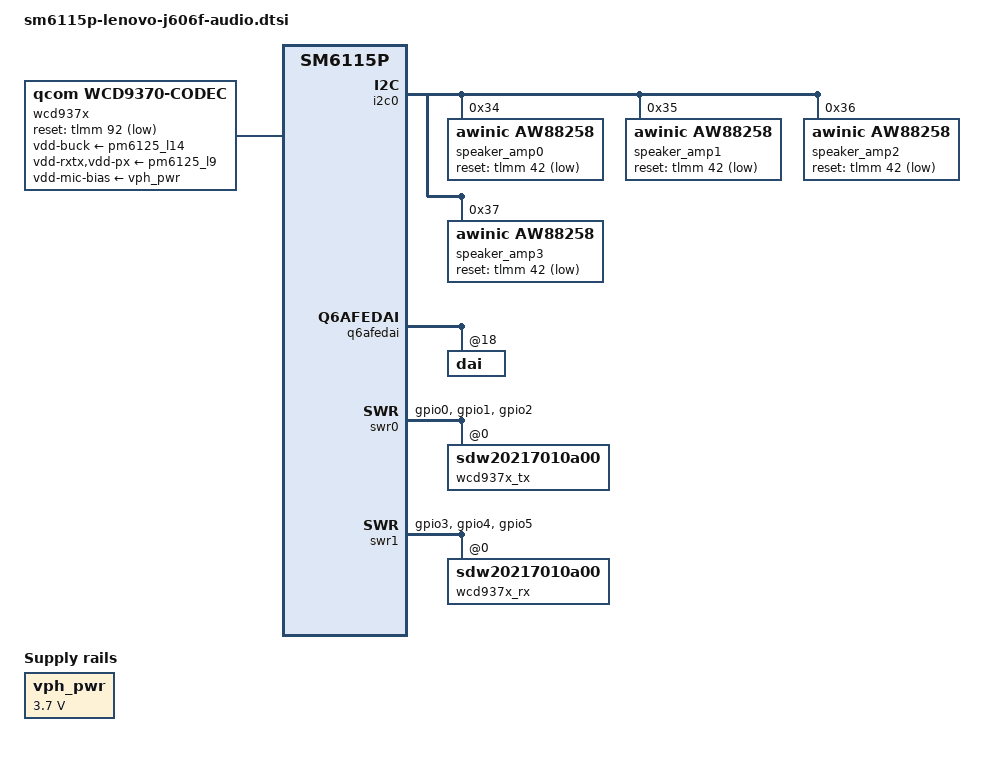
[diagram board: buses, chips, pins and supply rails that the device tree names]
// SPDX-License-Identifier: (GPL-2.0+ OR BSD-3-Clause)
/*
 * Lenovo Tab P11 (TB-J606F) audio. Headset path through the LPASS RX/TX macros, SoundWire and
 * the WCD937x codec, taken from the stock DT (bolero-cdc, wcd937x-codec, bengal-asoc-snd):
 * WCD937x reset on GPIO92, VDD_RXTX/VDD_PX from L9A and VDD_BUCK from L14A (1.8 V),
 * micbias 1.8 V, HPHL switch normally closed. On this tablet the WCD937x output goes to the
 * USB-C port through an FSA4480 switch (no 3.5 mm jack), which is not described yet.
 *
 * Speakers: four AW88258 amplifiers on I2C0 0x34-0x37 with one reset line (GPIO42), fed from
 * the primary TDM port on LPASS LPI GPIO6-9: four 32-bit slots at 48 kHz, DSP clock master,
 * short inverted frame sync (stock qcom,msm-dai-tdm-pri-rx). awinic,channel selects the
 * device section in the vendor aw882xx_acf.bin. Stereo is carried in slots 0/1; the profile
 * puts the top amplifiers on slots 2/3, so they are moved to 0/1 (awinic,rx-slot-mask), and
 * their profile channels are the wrong way round for this layout (awinic,rx-channel).
 * In landscape with the camera on top: 0x34 bottom left, 0x35 bottom right, 0x36 top right,
 * 0x37 top left (each amplifier played alone, 2026-10-31).
 */

#include <dt-bindings/gpio/gpio.h>
#include <dt-bindings/sound/qcom,q6afe.h>
#include <dt-bindings/sound/qcom,q6asm.h>

/ {
	vph_pwr: regulator-vph-pwr {
		compatible = "regulator-fixed";
		regulator-name = "vph_pwr";
		regulator-min-microvolt = <3700000>;
		regulator-max-microvolt = <3700000>;
		regulator-always-on;
		regulator-boot-on;
	};

	wcd937x: codec {
		compatible = "qcom,wcd9370-codec";
		pinctrl-0 = <&wcd_reset_n>;
		pinctrl-names = "default";
		reset-gpios = <&tlmm 92 GPIO_ACTIVE_LOW>;
		vdd-buck-supply = <&pm6125_l14>;
		vdd-rxtx-supply = <&pm6125_l9>;
		vdd-px-supply = <&pm6125_l9>;
		vdd-mic-bias-supply = <&vph_pwr>;
		qcom,micbias1-microvolt = <1800000>;
		qcom,micbias2-microvolt = <1800000>;
		qcom,micbias3-microvolt = <1800000>;
		qcom,micbias4-microvolt = <1800000>;
		qcom,hphl-jack-type-normally-closed;
		qcom,mbhc-buttons-vthreshold-microvolt = <75000 150000 237000 500000 500000 500000 500000 500000>;
		qcom,rx-device = <&wcd937x_rx>;
		qcom,tx-device = <&wcd937x_tx>;
		#sound-dai-cells = <1>;
	};

	sound {
		compatible = "qcom,qrb4210-rb2-sndcard";
		model = "Lenovo-TB-J606F";
		pinctrl-0 = <&lpass_tdm1_active>;
		pinctrl-names = "default";
		/* Пути со stock-роутинга (bolero/wcd937x, fragment@1 в dtbo):
		 * входы TX-макроса <- выходы АЦП кодека.
		 *
		 * Имена входов зависят от варианта макроса: у sm6115
		 * (lpass_ver_10_sm6115 -> tx_macro_dapm_widgets_v9_2) это
		 * TX SWR_INPUT0..7, у sm8250/sm8450 те же входы зовутся TX SWR_ADCn.
		 * С чужими именами карта не собирается: "ASoC: Failed to add route".
		 *
		 * ADC2_OUTPUT (встроенный микрофон, amic2) приходит на вход,
		 * который соответствует порту 2 TX-слейва. Какой именно вход
		 * макроса выбран, задаёт TX SMIC MUX0 (см. UCM Lenovo/TB-J606F).
		 */
		audio-routing = "IN1_HPHL", "HPHL_OUT",
				"IN2_HPHR", "HPHR_OUT",
				"AMIC1", "MIC BIAS1",
				"AMIC2", "MIC BIAS2",
				"AMIC3", "MIC BIAS3",
				"TX SWR_INPUT0", "ADC1_OUTPUT",
				"TX SWR_INPUT1", "ADC2_OUTPUT",
				"TX SWR_INPUT2", "ADC3_OUTPUT";

		mm1-dai-link {
			link-name = "MultiMedia1";

			cpu {
				sound-dai = <&q6asmdai MSM_FRONTEND_DAI_MULTIMEDIA1>;
			};
		};

		mm2-dai-link {
			link-name = "MultiMedia2";

			cpu {
				sound-dai = <&q6asmdai MSM_FRONTEND_DAI_MULTIMEDIA2>;
			};
		};

		mm3-dai-link {
			link-name = "MultiMedia3";

			cpu {
				sound-dai = <&q6asmdai MSM_FRONTEND_DAI_MULTIMEDIA3>;
			};
		};

		hph-dai-link {
			link-name = "Headphones Playback";

			codec {
				sound-dai = <&wcd937x 0>, <&swr1 0>, <&rxmacro 0>;
			};

			cpu {
				sound-dai = <&q6afedai RX_CODEC_DMA_RX_0>;
			};

			platform {
				sound-dai = <&q6routing>;
			};
		};

		speaker-dai-link {
			link-name = "Speaker Playback";

			codec {
				sound-dai = <&speaker_amp0>, <&speaker_amp1>,
					    <&speaker_amp2>, <&speaker_amp3>;
			};

			cpu {
				sound-dai = <&q6afedai PRIMARY_TDM_RX_0>;
			};

			platform {
				sound-dai = <&q6routing>;
			};
		};

		headset-mic-dai-link {
			link-name = "Headset Mic Capture";

			codec {
				sound-dai = <&wcd937x 1>, <&swr0 0>, <&txmacro 0>;
			};

			cpu {
				sound-dai = <&q6afedai TX_CODEC_DMA_TX_4>;
			};

			platform {
				sound-dai = <&q6routing>;
			};
		};
		builtin-mic-dai-link {
			link-name = "Built-in Mic Capture";

			/* Встроенные микрофоны: АЦП WCD9370 -> SoundWire (swr0, шину
			 * тактирует TX-макрос) -> TX-макрос (SWR_ADC -> SMIC MUX ->
			 * DEC MUX) -> CDC DMA TX -> DSP.
			 *
			 * Раньше здесь стоял vamacro: это неверно, VA-макрос
			 * обслуживает голосовую активацию, а не микрофоны. Именно из-за
			 * этого DSP не отдавал ни одного периода при захвате.
			 */
			codec {
				sound-dai = <&wcd937x 1>, <&swr0 0>, <&txmacro 0>;
			};

			cpu {
				/*
				 * Стоковый mixer_paths.xml снимает amic2 с TX_CDC_DMA_TX_4,
				 * то есть через TX-макрос, а не через VA-макрос. Проверяем этот
				 * путь: VA_CODEC_DMA_TX_0 у нас вешает подготовку потока.
				 */
				sound-dai = <&q6afedai TX_CODEC_DMA_TX_3>;
			};

			platform {
				sound-dai = <&q6routing>;
			};
		};

		/* Второй CDC-DMA порт для того же тракта: stock mixer_paths.xml
		 * снимает микрофоны с TX_CDC_DMA_TX_4, референс qcm6490-idp — с TX_3.
		 * Держать оба нельзя: codec DAI у них общий, ASoC отвечает
		 * "too many users Capture at open" и заваливает журнал. Поэтому порт
		 * переключается правкой cpu.sound-dai ниже, между загрузками.
		 */

	};
};

&i2c0 {
	speaker_amp0: amplifier@34 {
		compatible = "awinic,aw88258";
		reg = <0x34>;
		reset-gpios = <&tlmm 42 GPIO_ACTIVE_LOW>;
		awinic,channel = <0>;
		sound-name-prefix = "SpkBL";
		#sound-dai-cells = <0>;
	};

	speaker_amp1: amplifier@35 {
		compatible = "awinic,aw88258";
		reg = <0x35>;
		reset-gpios = <&tlmm 42 GPIO_ACTIVE_LOW>;
		awinic,channel = <1>;
		sound-name-prefix = "SpkBR";
		#sound-dai-cells = <0>;
	};

	speaker_amp2: amplifier@36 {
		compatible = "awinic,aw88258";
		reg = <0x36>;
		reset-gpios = <&tlmm 42 GPIO_ACTIVE_LOW>;
		awinic,channel = <2>;
		awinic,rx-slot-mask = <0x3>;
		awinic,rx-channel = "right";
		sound-name-prefix = "SpkTR";
		#sound-dai-cells = <0>;
	};

	speaker_amp3: amplifier@37 {
		compatible = "awinic,aw88258";
		reg = <0x37>;
		reset-gpios = <&tlmm 42 GPIO_ACTIVE_LOW>;
		awinic,channel = <3>;
		awinic,rx-slot-mask = <0x3>;
		awinic,rx-channel = "left";
		sound-name-prefix = "SpkTL";
		#sound-dai-cells = <0>;
	};
};

&lpass_tlmm {
	lpass_tdm1_active: lpass-tdm1-active-state {
		sck-pins {
			pins = "gpio6";
			function = "i2s1_clk";
			drive-strength = <8>;
			bias-disable;
		};

		ws-pins {
			pins = "gpio7";
			function = "i2s1_ws";
			drive-strength = <8>;
			bias-disable;
		};

		data-pins {
			pins = "gpio8", "gpio9";
			function = "i2s1_data";
			drive-strength = <8>;
			bias-disable;
		};
	};

	lpass_tx_swr_active: lpass-tx-swr-active-state {
		clk-pins {
			pins = "gpio0";
			function = "swr_tx_clk";
			drive-strength = <10>;
			slew-rate = <3>;
			bias-disable;
		};

		data-pins {
			pins = "gpio1", "gpio2";
			function = "swr_tx_data";
			drive-strength = <10>;
			slew-rate = <3>;
			bias-bus-hold;
		};
	};

	lpass_rx_swr_active: lpass-rx-swr-active-state {
		clk-pins {
			pins = "gpio3";
			function = "swr_rx_clk";
			drive-strength = <10>;
			slew-rate = <3>;
			bias-disable;
		};

		data-pins {
			pins = "gpio4", "gpio5";
			function = "swr_rx_data";
			drive-strength = <10>;
			slew-rate = <3>;
			bias-bus-hold;
		};
	};
};

&q6afedai {
	dai@18 {
		reg = <PRIMARY_TDM_RX_0>;
		qcom,tdm-sync-mode = <0>;
		qcom,tdm-sync-src = <1>;
		qcom,tdm-data-out = <0>;
		qcom,tdm-invert-sync = <1>;
		qcom,tdm-data-delay = <0>;
		qcom,tdm-data-align = <0>;
	};
};

&swr0 {
	pinctrl-0 = <&lpass_tx_swr_active>;
	pinctrl-names = "default";
	status = "okay";

	wcd937x_tx: codec@0,3 {
		compatible = "sdw20217010a00";
		reg = <0 3>;
		qcom,tx-port-mapping = <1 2 3 4>;
		/* Статический маппинг каналов слейв->мастер для TX-портов кодека.
		 * Без него драйвер берёт дефолты, порт настраивается неверно, и слейв
		 * висит в состоянии Alert (захват потом не стартует и валит ADSP).
		 * Порядок: adc1, adc2, adc3, mic0, dmic1, mbhc, dmic2..dmic7.
		 */
		qcom,tx-channel-mapping = /bits/ 8 <1 1 2 1 2 3 1 2 3 4 3 4>;
	};
};

&swr1 {
	pinctrl-0 = <&lpass_rx_swr_active>;
	pinctrl-names = "default";
	status = "okay";

	wcd937x_rx: codec@0,4 {
		compatible = "sdw20217010a00";
		reg = <0 4>;
		qcom,rx-port-mapping = <1 2 3 4 5>;
		/* hph_l, hph_r, clsh, comp_l, comp_r, lo, dsd_r, dsd_l */
		qcom,rx-channel-mapping = /bits/ 8 <1 2 1 1 2 1 1 2>;
	};
};

&tlmm {
	wcd_reset_n: wcd-reset-n-state {
		pins = "gpio92";
		function = "gpio";
		drive-strength = <16>;
		output-high;
	};
};
